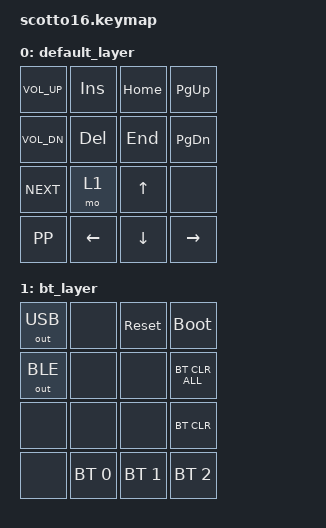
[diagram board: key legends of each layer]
#include <behaviors.dtsi>
#include <dt-bindings/zmk/keys.h>
#include <dt-bindings/zmk/bt.h>
#include <dt-bindings/zmk/outputs.h>

/ {
    keymap {
        compatible = "zmk,keymap";

        default_layer {
            bindings = <
                &kp K_VOL_UP    &kp INS         &kp HOME        &kp PG_UP
                &kp K_VOL_DN    &kp DEL         &kp END         &kp PG_DN
                &kp K_NEXT      &mo 1           &kp UP          &none
                &kp K_PP        &kp LEFT        &kp DOWN        &kp RIGHT
            >;
        };

        bt_layer {
            bindings = <
                &out OUT_USB    &none           &sys_reset      &bootloader
                &out OUT_BLE    &none           &none           &bt BT_CLR_ALL
                &none           &none           &none           &bt BT_CLR
                &none           &bt BT_SEL 0    &bt BT_SEL 1    &bt BT_SEL 2
            >;
        };
    };
};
